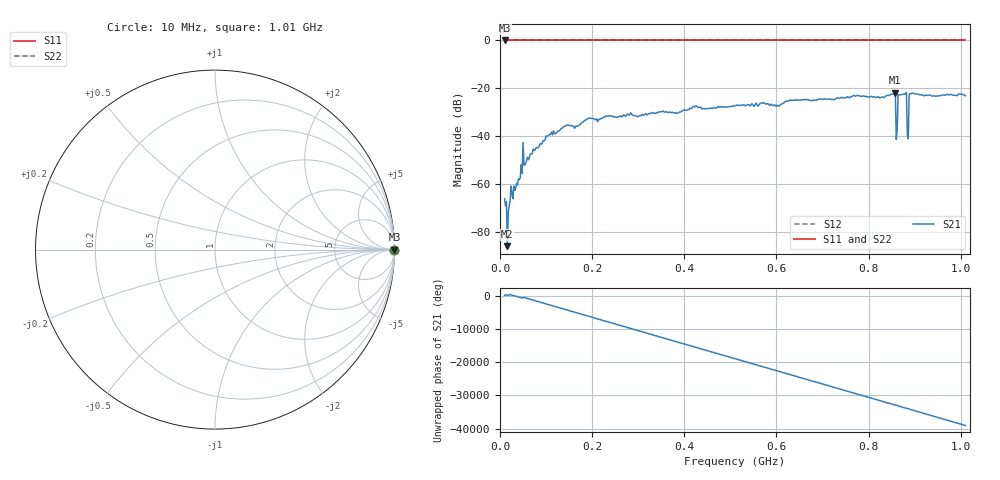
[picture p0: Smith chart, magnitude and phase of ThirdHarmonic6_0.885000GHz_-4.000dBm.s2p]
! 8/16/2025 5:07:03 AM
! C:\ANRITSUVNA\TEMP\TEMP.S2P
! CHANNEL.1
! TR.MEASUREMENT
! RAW.DATA
! RF.CORRECTION.OFF
! AVERAGING.OFF
! IF.BANDWIDTH: 5KHZ
! SWEEPTYPE:  FREQ.SWEEP(Linear)
! Reference Plane Port Info
! PORT:  PORT1  PORT2
! DISTANCE:  0  m  0  m
! TIME:  0  s  0  s
! PHASE.OFFSET:  0  deg.  0  deg.
! LOSS:  0  dB  0  dB
! REF.LOSS:  0  dB  0  dB
! REF.FREQ:  0  Hz  0  Hz
! Power Info
! POWER:  -20  dBm  -20  dBm
! EFF.POWER:  -20  dBm  -20  dBm
! SOURCE.ATTEN:  0  dB  0  dB
! TEST.ATTEN:  0  dB  0  dB
# GHZ S RI R 50.0
! FREQ.GHZ  S11RE  S11IM  S21RE  S21IM  S12RE  S12IM  S22RE  S22IM
!; PortSelection: Port_12
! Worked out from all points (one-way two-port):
!   501 points, 10 MHz to 1.01 GHz, reference 50 ohm
!   highest |S21| = -21.72 dB at 858 MHz (marker M1); lowest = -85.7 dB at 16 MHz (marker M2)
!   lowest |S11| = 0.0 dB at 10 MHz (marker M3)
!   |S11| at or under -10 dB: nowhere
!   |S22| runs from 0.0 to 0.0 dB; largest |S21 - S12| = 1.1
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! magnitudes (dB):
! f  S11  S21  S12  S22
! 10 MHz  0.0  -66.0  0.0  0.0
! 16 MHz  0.0  -85.7  0.0  0.0
! 26 MHz  0.0  -64.0  0.0  0.0
! 40 MHz  0.0  -57.7  0.0  0.0
! 46 MHz  0.0  -51.8  0.0  0.0
! 54 MHz  0.0  -52.0  0.0  0.0
! 56 MHz  0.0  -51.0  0.0  0.0
! 104 MHz  0.0  -39.6  0.0  0.0
! 178 MHz  0.0  -34.3  0.0  0.0
! 344 MHz  0.0  -29.8  0.0  0.0
! 510 MHz  0.0  -27.2  0.0  0.0
! 678 MHz  0.0  -25.0  0.0  0.0
! 844 MHz  0.0  -22.9  0.0  0.0
! 854 MHz  0.0  -22.3  0.0  0.0
! 858 MHz  0.0  -21.7  0.0  0.0
! 864 MHz  0.0  -22.6  0.0  0.0
! 868 MHz  0.0  -22.6  0.0  0.0
! 878 MHz  0.0  -22.5  0.0  0.0
! 882 MHz  0.0  -21.7  0.0  0.0
! 888 MHz  0.0  -22.4  0.0  0.0
! 892 MHz  0.0  -22.3  0.0  0.0
! 1.01 GHz  0.0  -23.0  0.0  0.0
